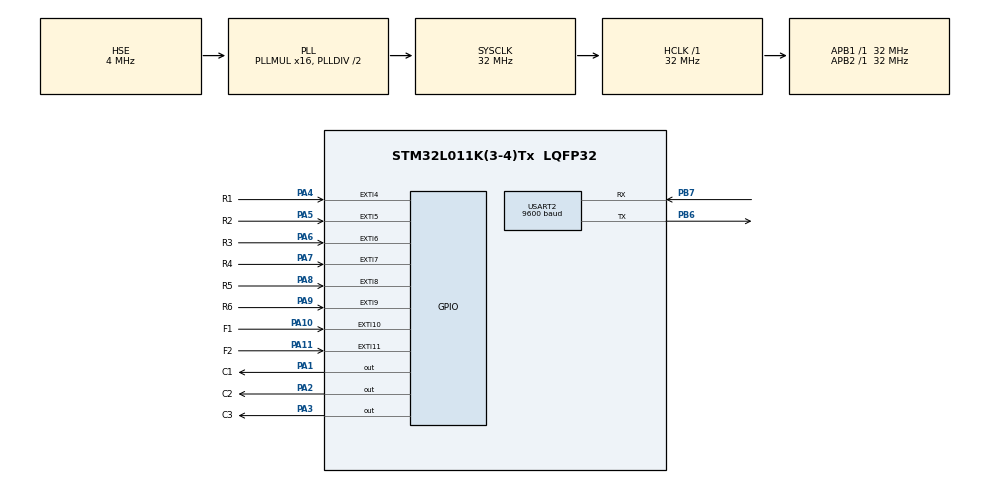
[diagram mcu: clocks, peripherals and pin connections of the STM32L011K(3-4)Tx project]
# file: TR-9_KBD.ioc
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Mcu.Family=STM32L0
Mcu.Name=STM32L011K(3-4)Tx
Mcu.Package=LQFP32
NVIC.EXTI4_15_IRQn=true\:0\:0\:false\:false\:true\:true
NVIC.TIM2_IRQn=true\:0\:0\:false\:false\:true\:true
PA0-CK_IN.Mode=HSE-External-Clock-Source-for-TinyNemo
PA0-CK_IN.Signal=RCC_CK_IN
PA1.GPIO_Label=C1
PA1.GPIO_ModeDefaultOutputPP=GPIO_MODE_OUTPUT_PP
PA1.GPIO_PuPd=GPIO_NOPULL
PA1.GPIO_Speed=GPIO_SPEED_FREQ_VERY_HIGH
PA1.PinState=GPIO_PIN_SET
PA1.Signal=GPIO_Output
PA10.GPIO_Label=F1
PA10.GPIO_ModeDefaultEXTI=GPIO_MODE_IT_FALLING
PA10.GPIO_PuPd=GPIO_NOPULL
PA10.Signal=GPXTI10
PA11.GPIO_Label=F2
PA11.GPIO_ModeDefaultEXTI=GPIO_MODE_IT_FALLING
PA11.GPIO_PuPd=GPIO_NOPULL
PA11.Signal=GPXTI11
PA2.GPIO_Label=C2
PA2.GPIO_ModeDefaultOutputPP=GPIO_MODE_OUTPUT_PP
PA2.GPIO_PuPd=GPIO_NOPULL
PA2.GPIO_Speed=GPIO_SPEED_FREQ_VERY_HIGH
PA2.PinState=GPIO_PIN_SET
PA2.Signal=GPIO_Output
PA3.GPIO_Label=C3
PA3.GPIO_ModeDefaultOutputPP=GPIO_MODE_OUTPUT_PP
PA3.GPIO_PuPd=GPIO_NOPULL
PA3.GPIO_Speed=GPIO_SPEED_FREQ_VERY_HIGH
PA3.PinState=GPIO_PIN_SET
PA3.Signal=GPIO_Output
PA4.GPIO_Label=R1
PA4.GPIO_ModeDefaultEXTI=GPIO_MODE_IT_RISING_FALLING
PA4.GPIO_PuPd=GPIO_NOPULL
PA4.Signal=GPXTI4
PA5.GPIO_Label=R2
PA5.GPIO_ModeDefaultEXTI=GPIO_MODE_IT_RISING_FALLING
PA5.GPIO_PuPd=GPIO_NOPULL
PA5.Signal=GPXTI5
PA6.GPIO_Label=R3
PA6.GPIO_ModeDefaultEXTI=GPIO_MODE_IT_RISING_FALLING
PA6.GPIO_PuPd=GPIO_NOPULL
PA6.Signal=GPXTI6
PA7.GPIO_Label=R4
PA7.GPIO_ModeDefaultEXTI=GPIO_MODE_IT_RISING_FALLING
PA7.GPIO_PuPd=GPIO_NOPULL
PA7.Signal=GPXTI7
PA8.GPIO_Label=R5
PA8.GPIO_ModeDefaultEXTI=GPIO_MODE_IT_RISING_FALLING
PA8.GPIO_PuPd=GPIO_NOPULL
PA8.Signal=GPXTI8
PA9.GPIO_Label=R6
PA9.GPIO_ModeDefaultEXTI=GPIO_MODE_IT_RISING_FALLING
PA9.GPIO_PuPd=GPIO_NOPULL
PA9.Signal=GPXTI9
PB6.Mode=Asynchronous
PB6.Signal=USART2_TX
PB7.Mode=Asynchronous
PB7.Signal=USART2_RX
ProjectManager.HeapSize=0x200
ProjectManager.StackSize=0x400
ProjectManager.TargetToolchain=SW4STM32
RCC.AHBFreq_Value=32000000
RCC.APB1Freq_Value=32000000
RCC.APB1TimFreq_Value=32000000
RCC.APB2Freq_Value=32000000
RCC.APB2TimFreq_Value=32000000
RCC.HCLKFreq_Value=32000000
RCC.HSE_VALUE=4000000
RCC.HSI16_VALUE=16000000
RCC.HSI_VALUE=16000000
RCC.LSE_VALUE=32768
RCC.MSI_VALUE=2097000
RCC.PLLMUL=RCC_PLLMUL_16
RCC.PLLSourceVirtual=RCC_PLLSOURCE_HSE
RCC.SYSCLKFreq_VALUE=32000000
RCC.SYSCLKSource=RCC_SYSCLKSOURCE_PLLCLK
RCC.VCOOutputFreq_Value=64000000
TIM2.Period=31999
TIM2.Prescaler=0
TIM2.TIM_MasterOutputTrigger=TIM_TRGO_UPDATE
USART2.BaudRate=9600
USART2.Mode=MODE_TX
USART2.VirtualMode-Asynchronous=VM_ASYNC
VP_TIM2_VS_ClockSourceINT.Mode=Internal
board=custom

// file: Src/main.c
/**
  ******************************************************************************
  * @file           : main.c
  * @brief          : Main program body
  ******************************************************************************
  ** This notice applies to any and all portions of this file
  * that are not between comment pairs USER CODE BEGIN and
  * USER CODE END. Other portions of this file, whether
  * inserted by the user or by software development tools
  * are owned by their respective copyright owners.
  *
  * COPYRIGHT(c) 2020 STMicroelectronics
  *
  * Redistribution and use in source and binary forms, with or without modification,
  * are permitted provided that the following conditions are met:
  *   1. Redistributions of source code must retain the above copyright notice,
  *      this list of conditions and the following disclaimer.
  *   2. Redistributions in binary form must reproduce the above copyright notice,
  *      this list of conditions and the following disclaimer in the documentation
  *      and/or other materials provided with the distribution.
  *   3. Neither the name of STMicroelectronics nor the names of its contributors
  *      may be used to endorse or promote products derived from this software
  *      without specific prior written permission.
  *
  * THIS SOFTWARE IS PROVIDED BY THE COPYRIGHT HOLDERS AND CONTRIBUTORS "AS IS"
  * AND ANY EXPRESS OR IMPLIED WARRANTIES, INCLUDING, BUT NOT LIMITED TO, THE
  * IMPLIED WARRANTIES OF MERCHANTABILITY AND FITNESS FOR A PARTICULAR PURPOSE ARE
  * DISCLAIMED. IN NO EVENT SHALL THE COPYRIGHT HOLDER OR CONTRIBUTORS BE LIABLE
  * FOR ANY DIRECT, INDIRECT, INCIDENTAL, SPECIAL, EXEMPLARY, OR CONSEQUENTIAL
  * DAMAGES (INCLUDING, BUT NOT LIMITED TO, PROCUREMENT OF SUBSTITUTE GOODS OR
  * SERVICES; LOSS OF USE, DATA, OR PROFITS; OR BUSINESS INTERRUPTION) HOWEVER
  * CAUSED AND ON ANY THEORY OF LIABILITY, WHETHER IN CONTRACT, STRICT LIABILITY,
  * OR TORT (INCLUDING NEGLIGENCE OR OTHERWISE) ARISING IN ANY WAY OUT OF THE USE
  * OF THIS SOFTWARE, EVEN IF ADVISED OF THE POSSIBILITY OF SUCH DAMAGE.
  *
  ******************************************************************************
  */
#include "main.h"
#include "stm32l0xx_hal.h"

/* USER CODE BEGIN Includes */
#define TIMEOUT			20		//UART timeout (ms)
/* USER CODE END Includes */

TIM_HandleTypeDef htim2;

UART_HandleTypeDef huart2;

/* USER CODE BEGIN PV */
uint8_t pin=0;				//for pin scanning
uint8_t pressed=0;			//button being pressed?
/* USER CODE END PV */

void SystemClock_Config(void);
static void MX_GPIO_Init(void);
static void MX_USART2_UART_Init(void);
static void MX_TIM2_Init(void);

/* USER CODE BEGIN 0 */
void HAL_TIM_PeriodElapsedCallback(TIM_HandleTypeDef *htim)
{
	if(htim->Instance==TIM2)
	{
		pin++;
		pin%=3;

		//set low on selected pin
		switch(pin)
		{
			case 0:
				GPIOA->BSRR=(1<<(1+16));
				GPIOA->BSRR=(1<<2)|(1<<3);
			break;

			case 1:
				GPIOA->BSRR=(1<<(2+16));
				GPIOA->BSRR=(1<<1)|(1<<3);
			break;

			case 2:
				GPIOA->BSRR=(1<<(3+16));
				GPIOA->BSRR=(1<<1)|(1<<2);
			break;

			default:
				GPIOA->BSRR=(1<<1)|(1<<2)|(1<<3);
			break;
		}
	}
}

void HAL_GPIO_EXTI_Callback(uint16_t GPIO_Pin)
{
	if( (~(GPIOA->IDR)&GPIO_Pin) && !pressed)
	{
		if(GPIO_Pin==(1<<4))		//row 1 (from the bottom)
		{
			if((~(GPIOA->ODR))&(1<<1))
				HAL_UART_Transmit(&huart2, "*", 1, TIMEOUT);
			else if((~(GPIOA->ODR))&(1<<2))
				HAL_UART_Transmit(&huart2, "0", 1, TIMEOUT);
			else if((~(GPIOA->ODR))&(1<<3))
				HAL_UART_Transmit(&huart2, "#", 1, TIMEOUT);
		}
		else if(GPIO_Pin==(1<<5))	//row 2
		{
			if((~(GPIOA->ODR))&(1<<1))
				HAL_UART_Transmit(&huart2, "1", 1, TIMEOUT);
			else if((~(GPIOA->ODR))&(1<<2))
				HAL_UART_Transmit(&huart2, "2", 1, TIMEOUT);
			else if((~(GPIOA->ODR))&(1<<3))
				HAL_UART_Transmit(&huart2, "3", 1, TIMEOUT);
		}
		else if(GPIO_Pin==(1<<6))	//row 3
		{
			if((~(GPIOA->ODR))&(1<<1))
				HAL_UART_Transmit(&huart2, "4", 1, TIMEOUT);
			else if((~(GPIOA->ODR))&(1<<2))
				HAL_UART_Transmit(&huart2, "5", 1, TIMEOUT);
			else if((~(GPIOA->ODR))&(1<<3))
				HAL_UART_Transmit(&huart2, "6", 1, TIMEOUT);
		}
		else if(GPIO_Pin==(1<<7))	//row 4
		{
			if((~(GPIOA->ODR))&(1<<1))
				HAL_UART_Transmit(&huart2, "7", 1, TIMEOUT);
			else if((~(GPIOA->ODR))&(1<<2))
				HAL_UART_Transmit(&huart2, "8", 1, TIMEOUT);
			else if((~(GPIOA->ODR))&(1<<3))
				HAL_UART_Transmit(&huart2, "9", 1, TIMEOUT);
		}
		else if(GPIO_Pin==(1<<8))	//row 5
		{
			if((~(GPIOA->ODR))&(1<<1))
				HAL_UART_Transmit(&huart2, "L", 1, TIMEOUT);	//Left
			else if((~(GPIOA->ODR))&(1<<2))
				HAL_UART_Transmit(&huart2, "D", 1, TIMEOUT);	//Down
			else if((~(GPIOA->ODR))&(1<<3))
				HAL_UART_Transmit(&huart2, "R", 1, TIMEOUT);	//Right
		}
		else if(GPIO_Pin==(1<<9))	//row 6
		{
			if((~(GPIOA->ODR))&(1<<1))
				HAL_UART_Transmit(&huart2, "A", 1, TIMEOUT);
			else if((~(GPIOA->ODR))&(1<<2))
				HAL_UART_Transmit(&huart2, "U", 1, TIMEOUT);
			else if((~(GPIOA->ODR))&(1<<3))
				HAL_UART_Transmit(&huart2, "B", 1, TIMEOUT);
		}
		else if(GPIO_Pin==(1<<10))	//F1 press
		{
			HAL_UART_Transmit(&huart2, "C", 1, TIMEOUT);
		}
		else if(GPIO_Pin==(1<<11))	//F2 press
		{
			HAL_UART_Transmit(&huart2, "D", 1, TIMEOUT);
		}

		pressed=1;
		HAL_TIM_Base_Stop_IT(&htim2);
	}
	else
	{
		HAL_TIM_Base_Start_IT(&htim2);
		pressed=0;
	}
}
/* USER CODE END 0 */

int main(void)
{

  /* MCU Configuration----------------------------------------------------------*/

  /* Reset of all peripherals, Initializes the Flash interface and the Systick. */
  HAL_Init();

  /* Configure the system clock */
  SystemClock_Config();

  /* Initialize all configured peripherals */
  MX_GPIO_Init();
  MX_USART2_UART_Init();
  MX_TIM2_Init();
  /* USER CODE BEGIN 2 */
  GPIOA->BSRR=(1<<1)|(1<<2)|(1<<3);
  HAL_TIM_Base_Start_IT(&htim2);
  /* USER CODE END 2 */

  /* Infinite loop */
  /* USER CODE BEGIN WHILE */
  while(1)
  {
	  ;
  /* USER CODE END WHILE */

  }

}

void SystemClock_Config(void)
{

  RCC_OscInitTypeDef RCC_OscInitStruct;
  RCC_ClkInitTypeDef RCC_ClkInitStruct;
  RCC_PeriphCLKInitTypeDef PeriphClkInit;

    /**Configure the main internal regulator output voltage
    */
  __HAL_PWR_VOLTAGESCALING_CONFIG(PWR_REGULATOR_VOLTAGE_SCALE1);

    /**Initializes the CPU, AHB and APB busses clocks
    */
  RCC_OscInitStruct.OscillatorType = RCC_OSCILLATORTYPE_HSE;
  RCC_OscInitStruct.HSEState = RCC_HSE_BYPASS;
  RCC_OscInitStruct.PLL.PLLState = RCC_PLL_ON;
  RCC_OscInitStruct.PLL.PLLSource = RCC_PLLSOURCE_HSE;
  RCC_OscInitStruct.PLL.PLLMUL = RCC_PLLMUL_16;
  RCC_OscInitStruct.PLL.PLLDIV = RCC_PLLDIV_2;
  if (HAL_RCC_OscConfig(&RCC_OscInitStruct) != HAL_OK)
  {
    _Error_Handler(__FILE__, __LINE__);
  }

    /**Initializes the CPU, AHB and APB busses clocks
    */
  RCC_ClkInitStruct.ClockType = RCC_CLOCKTYPE_HCLK|RCC_CLOCKTYPE_SYSCLK
                              |RCC_CLOCKTYPE_PCLK1|RCC_CLOCKTYPE_PCLK2;
  RCC_ClkInitStruct.SYSCLKSource = RCC_SYSCLKSOURCE_PLLCLK;
  RCC_ClkInitStruct.AHBCLKDivider = RCC_SYSCLK_DIV1;
  RCC_ClkInitStruct.APB1CLKDivider = RCC_HCLK_DIV1;
  RCC_ClkInitStruct.APB2CLKDivider = RCC_HCLK_DIV1;

  if (HAL_RCC_ClockConfig(&RCC_ClkInitStruct, FLASH_LATENCY_1) != HAL_OK)
  {
    _Error_Handler(__FILE__, __LINE__);
  }

  PeriphClkInit.PeriphClockSelection = RCC_PERIPHCLK_USART2;
  PeriphClkInit.Usart2ClockSelection = RCC_USART2CLKSOURCE_PCLK1;
  if (HAL_RCCEx_PeriphCLKConfig(&PeriphClkInit) != HAL_OK)
  {
    _Error_Handler(__FILE__, __LINE__);
  }

    /**Configure the Systick interrupt time
    */
  HAL_SYSTICK_Config(HAL_RCC_GetHCLKFreq()/1000);

    /**Configure the Systick
    */
  HAL_SYSTICK_CLKSourceConfig(SYSTICK_CLKSOURCE_HCLK);

  /* SysTick_IRQn interrupt configuration */
  HAL_NVIC_SetPriority(SysTick_IRQn, 0, 0);
}

/* TIM2 init function */
static void MX_TIM2_Init(void)
{

  TIM_ClockConfigTypeDef sClockSourceConfig;
  TIM_MasterConfigTypeDef sMasterConfig;

  htim2.Instance = TIM2;
  htim2.Init.Prescaler = 0;
  htim2.Init.CounterMode = TIM_COUNTERMODE_UP;
  htim2.Init.Period = 15999;
  htim2.Init.ClockDivision = TIM_CLOCKDIVISION_DIV1;
  if (HAL_TIM_Base_Init(&htim2) != HAL_OK)
  {
    _Error_Handler(__FILE__, __LINE__);
  }

  sClockSourceConfig.ClockSource = TIM_CLOCKSOURCE_INTERNAL;
  if (HAL_TIM_ConfigClockSource(&htim2, &sClockSourceConfig) != HAL_OK)
  {
    _Error_Handler(__FILE__, __LINE__);
  }

  sMasterConfig.MasterOutputTrigger = TIM_TRGO_UPDATE;
  sMasterConfig.MasterSlaveMode = TIM_MASTERSLAVEMODE_DISABLE;
  if (HAL_TIMEx_MasterConfigSynchronization(&htim2, &sMasterConfig) != HAL_OK)
  {
    _Error_Handler(__FILE__, __LINE__);
  }

}

/* USART2 init function */
static void MX_USART2_UART_Init(void)
{

  huart2.Instance = USART2;
  huart2.Init.BaudRate = 9600;
  huart2.Init.WordLength = UART_WORDLENGTH_8B;
  huart2.Init.StopBits = UART_STOPBITS_1;
  huart2.Init.Parity = UART_PARITY_NONE;
  huart2.Init.Mode = UART_MODE_TX;
  huart2.Init.HwFlowCtl = UART_HWCONTROL_NONE;
  huart2.Init.OverSampling = UART_OVERSAMPLING_16;
  huart2.Init.OneBitSampling = UART_ONE_BIT_SAMPLE_DISABLE;
  huart2.AdvancedInit.AdvFeatureInit = UART_ADVFEATURE_NO_INIT;
  if (HAL_UART_Init(&huart2) != HAL_OK)
  {
    _Error_Handler(__FILE__, __LINE__);
  }

}

/** Configure pins as
        * Analog
        * Input
        * Output
        * EVENT_OUT
        * EXTI
*/
static void MX_GPIO_Init(void)
{

  GPIO_InitTypeDef GPIO_InitStruct;

  /* GPIO Ports Clock Enable */
  __HAL_RCC_GPIOA_CLK_ENABLE();
  __HAL_RCC_GPIOB_CLK_ENABLE();

  /*Configure GPIO pin Output Level */
  HAL_GPIO_WritePin(GPIOA, C1_Pin|C2_Pin|C3_Pin, GPIO_PIN_SET);

  /*Configure GPIO pins : C1_Pin C2_Pin C3_Pin */
  GPIO_InitStruct.Pin = C1_Pin|C2_Pin|C3_Pin;
  GPIO_InitStruct.Mode = GPIO_MODE_OUTPUT_PP;
  GPIO_InitStruct.Pull = GPIO_NOPULL;
  GPIO_InitStruct.Speed = GPIO_SPEED_FREQ_VERY_HIGH;
  HAL_GPIO_Init(GPIOA, &GPIO_InitStruct);

  /*Configure GPIO pins : R1_Pin R2_Pin R3_Pin R4_Pin
                           R5_Pin R6_Pin */
  GPIO_InitStruct.Pin = R1_Pin|R2_Pin|R3_Pin|R4_Pin
                          |R5_Pin|R6_Pin;
  GPIO_InitStruct.Mode = GPIO_MODE_IT_RISING_FALLING;
  GPIO_InitStruct.Pull = GPIO_NOPULL;
  HAL_GPIO_Init(GPIOA, &GPIO_InitStruct);

  /*Configure GPIO pins : F1_Pin F2_Pin */
  GPIO_InitStruct.Pin = F1_Pin|F2_Pin;
  GPIO_InitStruct.Mode = GPIO_MODE_IT_FALLING;
  GPIO_InitStruct.Pull = GPIO_NOPULL;
  HAL_GPIO_Init(GPIOA, &GPIO_InitStruct);

  /* EXTI interrupt init*/
  HAL_NVIC_SetPriority(EXTI4_15_IRQn, 0, 0);
  HAL_NVIC_EnableIRQ(EXTI4_15_IRQn);

}

void _Error_Handler(char *file, int line)
{
}

/************************ (C) COPYRIGHT STMicroelectronics *****END OF FILE****/
